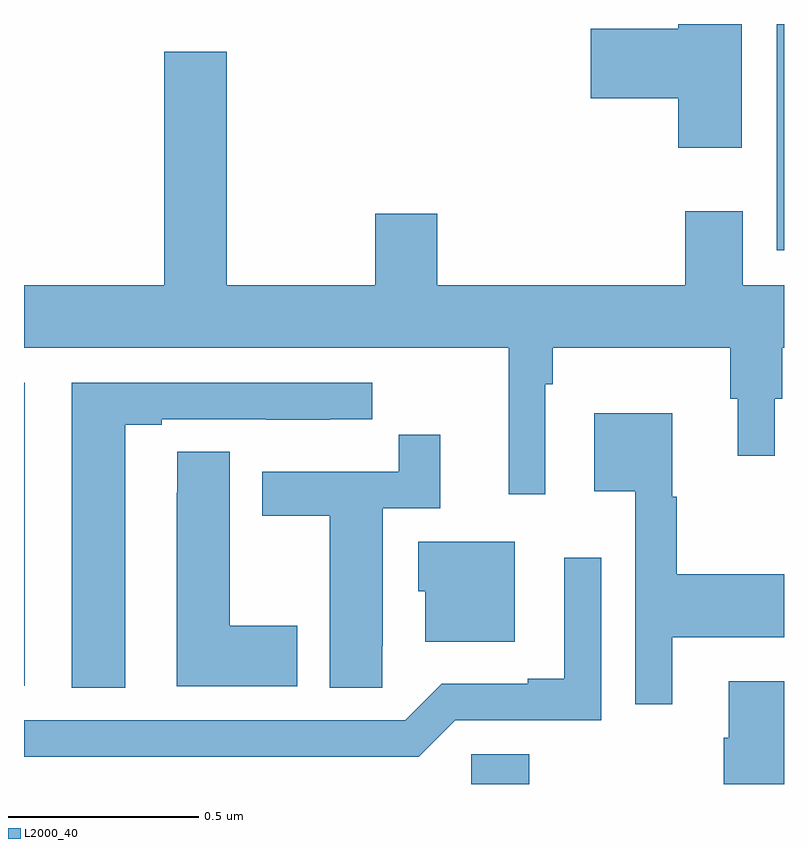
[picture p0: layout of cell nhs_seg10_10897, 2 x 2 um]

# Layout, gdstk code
import gdstk
lib = gdstk.Library(unit=1e-6, precision=1e-09)
def R(c, l, rs):  # rectangles x0, y0, x1, y1
    for r in rs: c.add(gdstk.rectangle(r[:2], r[2:], *l))
def P(c, l, *ps):  # polygons
    for p in ps: c.add(gdstk.Polygon(p, *l))
L2000_40 = (2000, 40)

nhs_seg10_10897 = lib.new_cell('nhs_seg10_10897')
R(nhs_seg10_10897, L2000_40, [(249.177,1300.5,249.329,1300.578), (248,1300.758,248.002,1301.556), (249.981,1301.904,250,1302.5)])
P(nhs_seg10_10897, L2000_40, [(249.889,1302.5),(249.722,1302.5),(249.722,1302.488),(249.492,1302.488),(249.492,1302.305),(249.722,1302.305),(249.722,1302.174),(249.889,1302.174)],
  [(249.372,1301.552),(249.392,1301.552),(249.392,1301.648),(249.859,1301.648),(249.859,1301.514),(249.878,1301.514),(249.878,1301.364),(249.976,1301.364),(249.976,1301.514),(249.995,1301.514),(249.995,1301.648),(250,1301.648),(250,1301.812),(249.892,1301.812),(249.892,1302.007),(249.74,1302.007),(249.74,1301.812),(249.088,1301.812),(249.088,1302.001),(248.924,1302.001),(248.924,1301.812),(248.533,1301.812),(248.533,1302.427),(248.369,1302.427),(248.369,1301.812),(248,1301.812),(248,1301.648),(249.275,1301.648),(249.275,1301.262),(249.372,1301.262)],
  [(248.266,1301.445),(248.362,1301.445),(248.362,1301.46),(248.638,1301.46),(248.638,1301.459),(248.804,1301.459),(248.804,1301.46),(248.917,1301.46),(248.917,1301.556),(248.126,1301.556),(248.126,1300.753),(248.266,1300.753)],
  [(249.706,1300.886),(250,1300.886),(250,1301.052),(249.718,1301.052),(249.718,1301.256),(249.706,1301.256),(249.706,1301.476),(249.5,1301.476),(249.5,1301.27),(249.609,1301.27),(249.609,1300.71),(249.706,1300.71)],
  [(248.943,1300.864),(248.944,1300.864),(248.944,1301.226),(249.095,1301.226),(249.095,1301.419),(248.986,1301.419),(248.986,1301.322),(248.627,1301.322),(248.627,1301.206),(248.804,1301.206),(248.804,1300.753),(248.943,1300.753)],
  [(248.719,1300.917),(248.542,1300.917),(248.542,1301.375),(248.403,1301.375),(248.403,1301.267),(248.402,1301.267),(248.402,1300.757),(248.719,1300.757)],
  [(249.292,1301.137),(249.038,1301.137),(249.038,1301.007),(249.056,1301.007),(249.056,1300.874),(249.292,1300.874)],
  [(249.135,1300.668),(249.519,1300.668),(249.519,1301.095),(249.422,1301.095),(249.422,1300.777),(249.326,1300.777),(249.326,1300.764),(249.099,1300.764),(249.003,1300.668),(248,1300.668),(248,1300.572),(249.039,1300.572)],
  [(250,1300.771),(249.854,1300.771),(249.854,1300.622),(249.842,1300.622),(249.842,1300.5),(250,1300.5)])

lib.write_gds('nhs_seg10_10897.gds')
